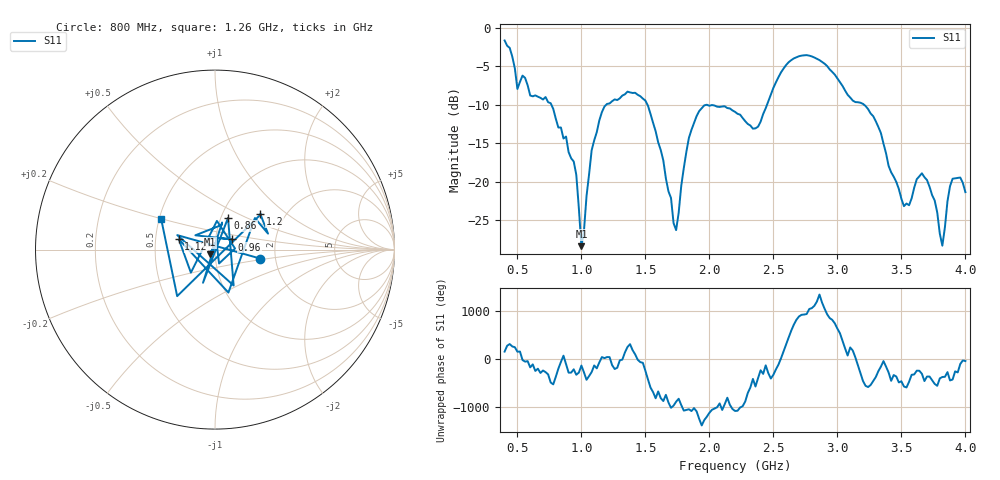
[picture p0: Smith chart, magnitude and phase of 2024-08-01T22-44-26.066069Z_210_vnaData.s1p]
!Created with skrf (http://scikit-rf.org).
# Hz S RI R 50.0
!freq ReS11 ImS11
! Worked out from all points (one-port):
!   181 points, 400 MHz to 4 GHz, reference 50 ohm
!   lowest |S11| = -28.4 dB at 1 GHz (marker M1), VSWR 1.08, Z = 47.2 - j2.39 ohm
!   |S11| at or under -10 dB: 1.517 GHz to 1.975 GHz (458.1 MHz wide, 26.2 % of centre); 1.983 GHz to 2.45 GHz (466.8 MHz wide, 21.1 % of centre); 3.21 GHz to end of sweep (the widest 3 of 4)
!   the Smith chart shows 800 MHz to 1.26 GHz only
!   S11 on the Smith chart (normalised r, x): 800 MHz: 1.66, -0.18; 860 MHz: 1.08, +0.40; 960 MHz: 1.20, +0.14; 1.12 GHz: 0.66, +0.08; 1.2 GHz: 1.50, +0.66; 1.26 GHz: 0.51, +0.20
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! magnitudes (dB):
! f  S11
! 400 MHz  -1.6
! 500 MHz  -7.9
! 800 MHz  -11.8
! 860 MHz  -14.4
! 960 MHz  -19.1
! 1 GHz  -28.4
! 1.08 GHz  -15.9
! 1.12 GHz  -13.6
! 1.2 GHz  -9.9
! 1.26 GHz  -9.3
! 1.3 GHz  -9.1
! 1.5 GHz  -9.4
! 1.64 GHz  -17.2
! 1.72 GHz  -25.4
! 1.76 GHz  -24.0
! 1.84 GHz  -14.3
! 1.92 GHz  -10.8
! 2.2 GHz  -10.9
! 2.38 GHz  -12.8
! 2.66 GHz  -3.9
! 3.1 GHz  -9.0
! 3.28 GHz  -11.5
! 3.56 GHz  -23.1
! 3.66 GHz  -18.9
! 3.76 GHz  -22.4
! 3.82 GHz  -28.3
! 3.9 GHz  -19.6
! 4 GHz  -21.4
